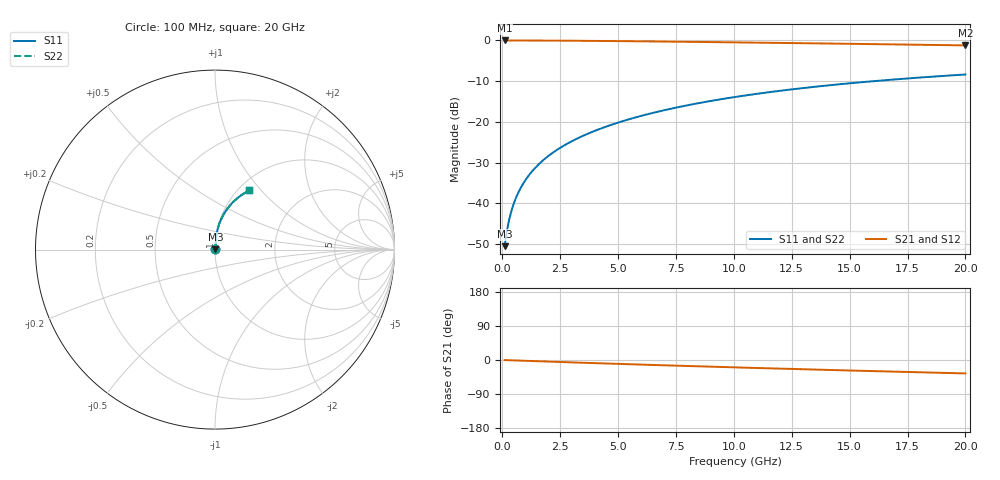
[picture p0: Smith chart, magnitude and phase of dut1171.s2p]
! Touchstone file exported from HFSS 2024.1.0
!  File:  C:/UserFiles/LocalFiles/RDL_TSV_Batchsim/temp_RDL_top_1171_1780048873.aedt
!  Generated:  06:03:27 PM May 29, 2026
!  Design:  RDL_top
!  Project:  temp_RDL_top_1171_1780048873
!  Setup:  Setup1
!  Solution:  Sweep
! Variables:
!  dtsv = 10.80580581um
!  hbump = 3um
!  htsv = 54.33um
!  ldown = 100um
!  lrdl = 449um
!  p = 40
!  p1 = 59.09um
!  rhole = 1um
!  t = 450um
!  tdown = 3.915915916um
!  trdl = 3.92um
!  wdown = 15.38538539um
!  wrdl = 19.99um
# GHz S MA R 50.000000
! Terminal data exported
! Port[1] = Box2_T1
! Port[2] = Box2_T2
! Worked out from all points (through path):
!   200 points, 100 MHz to 20 GHz, reference 50 ohm
!   highest |S21| = -0.02 dB at 100 MHz (marker M1); lowest = -1.2 dB at 20 GHz (marker M2)
!   group delay of S21, straight-line fit = 4.88 ps
!   lowest |S11| = -50.5 dB at 100 MHz (marker M3), VSWR 1.01, Z = 50.2 + j0.203 ohm
!   |S11| at or under -10 dB: start of sweep to 16.05 GHz
!   |S22| runs from -50.5 to -8.4 dB; largest |S21 - S12| = 4.2e-15
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0.1  0.002985 42.6  0.9978 -0.2  0.9978 -0.2  0.002985 42.6
! Gamma 0 0 0 0
! Port Impedance 50 0 50 0
0.2  0.004604 60.2  0.9977 -0.4  0.9977 -0.4  0.004604 60.2
0.3  0.006382 68.1  0.9976 -0.7  0.9976 -0.7  0.006382 68.1
0.4  0.008195 72.4  0.9974 -0.9  0.9974 -0.9  0.008195 72.4
0.5  0.01002 75.3  0.9973 -1.1  0.9973 -1.1  0.01002 75.3
0.6  0.01186 77.3  0.9972 -1.3  0.9972 -1.3  0.01186 77.3
0.8  0.01557 80.0  0.9969 -1.7  0.9969 -1.7  0.01557 80.0
1.1  0.0212 82.2  0.9964 -2.3  0.9964 -2.3  0.0212 82.2
1.5  0.02878 83.7  0.9955 -3.2  0.9955 -3.2  0.02878 83.7
1.8  0.03451 84.3  0.9947 -3.8  0.9947 -3.8  0.03451 84.3
2.1  0.04028 84.7  0.9938 -4.4  0.9938 -4.4  0.04028 84.7
2.7  0.05194 84.9  0.9916 -5.7  0.9916 -5.7  0.05194 84.9
3.5  0.06772 84.8  0.9881 -7.3  0.9881 -7.3  0.06772 84.8
4.2  0.08175 84.3  0.9845 -8.7  0.9845 -8.7  0.08175 84.3
5  0.09798 83.6  0.9799 -10.3  0.9799 -10.3  0.09799 83.6
5.9  0.1165 82.6  0.9744 -12.0  0.9744 -12.0  0.1165 82.6
6.8  0.1351 81.4  0.9685 -13.7  0.9685 -13.7  0.1351 81.4
8.4  0.1682 78.9  0.9575 -16.6  0.9575 -16.6  0.1682 78.9
10.1  0.203 76.2  0.9453 -19.6  0.9453 -19.6  0.203 76.2
13.4  0.2678 70.6  0.9205 -25.1  0.9205 -25.1  0.2678 70.6
16.7  0.3275 65.1  0.8946 -30.4  0.8946 -30.4  0.3275 65.1
20  0.3814 59.8  0.868 -35.4  0.868 -35.4  0.3814 59.8
